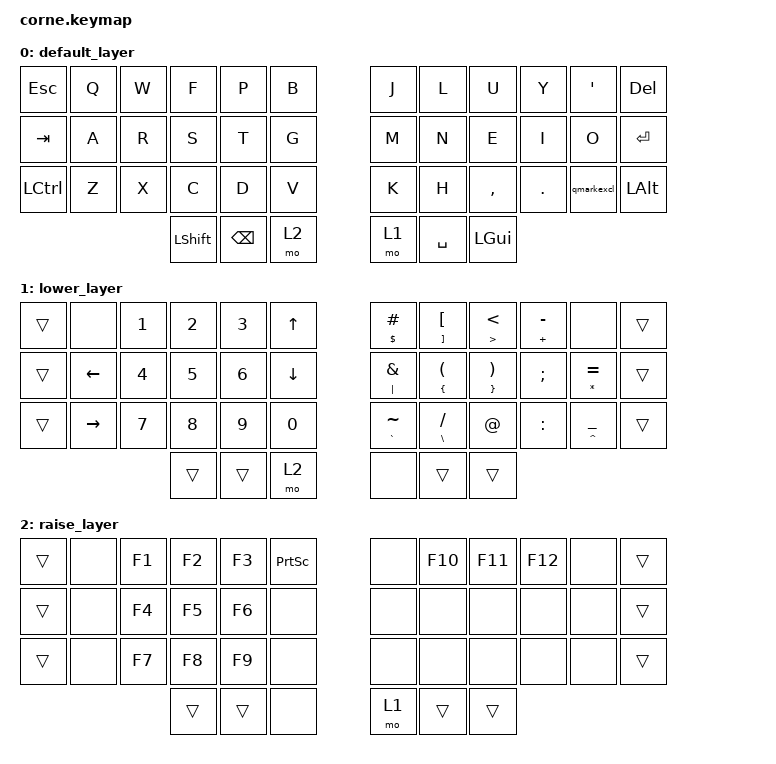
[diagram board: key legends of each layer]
/*
 * Copyright (c) 2020 The ZMK Contributors
 *
 * SPDX-License-Identifier: MIT
 */

#include <behaviors.dtsi>
#include <dt-bindings/zmk/keys.h>
#include <dt-bindings/zmk/bt.h>

/ {
        behaviors {
                ht: hold_tap {
                label = "hold_tap";
                compatible = "zmk,behavior-hold-tap";
                #binding-cells = <2>;
                flavor = "tap-preferred";
                tapping-term-ms = <220>;
                quick-tap-ms = <150>;
                global-quick-tap;
                bindings = <&kp>, <&kp>;
                };

                qmarkexcl: qmark_excl {
                compatible = "zmk,behavior-mod-morph";
                label = "QUESTIONMARK_EXCLAMATION";
                #binding-cells = <0>;
                bindings = <&kp QMARK>, <&kp EXCL>;
                mods = <(MOD_LSFT)>;
                };
        };

        keymap {
                compatible = "zmk,keymap";

                default_layer {
// -----------------------------------------------------------------------------------------
// |  ESC |  Q  |  W  |  F  |  P  |  B  |   |  J  |  L   |  U  |  Y  | ' " | DEL  |
// | TAB  |  A  |  R  |  S  |  T  |  G  |   |  M  |  N   |  E  |  I  |  O  |  RET |
// | LCTRL|  Z  |  X  |  C  |  D  |  V  |   |  K  |  H   |  ,  |  .  |  /  | LALT |
//                    | SHFT|BSPC | MO2 |   | MO1 | SPC  | WIN |
                        bindings = <
   &kp ESC   &kp Q &kp W &kp F &kp P &kp B   &kp J &kp L  &kp U     &kp Y   &kp SQT    &kp DEL
   &kp TAB   &kp A &kp R &kp S &kp T &kp G   &kp M &kp N  &kp E     &kp I   &kp O      &kp RET
   &kp LCTRL &kp Z &kp X &kp C &kp D &kp V   &kp K &kp H  &kp COMMA &kp DOT &qmarkexcl &kp LALT
                 &kp LSHFT &kp BSPC  &mo 2   &mo 1 &kp SPACE &kp LGUI
                        >;
                };
                lower_layer {
// -----------------------------------------------------------------------------------------
// |  v   |     |  1  |  2  |  3  |  UP  |   | $ # | []  |  <> | - + |     |  v   |
// |  v   |LEFT |  4  |  5  |  6  | DOWN |   | & | | ( { |  ) }| ;   | = * |  v   |
// |  v   |RGHT |  7  |  8  |  9  |  0   |   | ` ~ | / \ | @   | :   | _ ^ |  v   |
//                    |  v  |  v  | MO2  |   |     |  v  |  v  |
                        bindings = <
   &trans    &none     &kp N1       &kp N2       &kp N3       &kp UP         &ht DLLR HASH   &ht RBKT LBKT   &ht GT LT       &ht PLUS MINUS     &none             &trans
   &trans    &kp LEFT  &kp N4       &kp N5       &kp N6       &kp DOWN       &ht PIPE AMPS   &ht LBRC LPAR   &ht RBRC RPAR   &kp SEMI           &ht STAR EQUAL    &trans
   &trans    &kp RIGHT &kp N7       &kp N8       &kp N9       &kp N0         &ht GRAVE TILDE &ht BSLH FSLH   &kp AT          &kp COLON          &ht CARET UNDER             &trans
                                    &trans       &trans       &mo 2          &none           &trans          &trans
                        >;
                };

                raise_layer {
// -----------------------------------------------------------------------------------------
// |  v   |     | F1  | F2  | F3  | PS  |   |     | F10 | F11 |  F12|     |  v   |
// |  v   |     | F4  | F5  | F6  |     |   |     |     |     |     |     |  v   |
// |  v   |     | F7  | F8  | F9  |     |   |     |     |     |     |     |  v   |
//                    |  v  |  v  |     |   | MO1 |  v  |  v  |
                        bindings = <
   &trans    &none    &kp F1  &kp F2   &kp F3    &kp PSCRN   &none     &kp F10   &kp F11   &kp F12  &none    &trans
   &trans    &none    &kp F4  &kp F5   &kp F6    &none       &none     &none     &none     &none    &none    &trans
   &trans    &none    &kp F7  &kp F8   &kp F9    &none       &none     &none     &none     &none    &none    &trans
                               &trans   &trans   &none       &mo 1     &trans    &trans
                        >;
                };
        };
};

